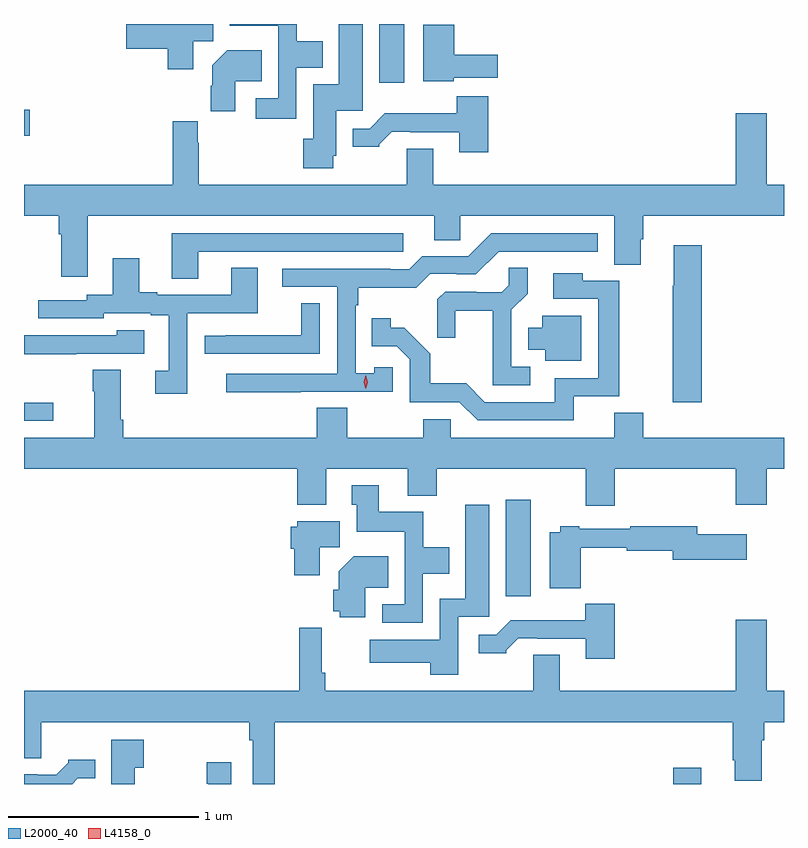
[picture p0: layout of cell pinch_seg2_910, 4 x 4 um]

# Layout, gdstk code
import gdstk
lib = gdstk.Library(unit=1e-6, precision=1e-09)
def R(c, l, rs):  # rectangles x0, y0, x1, y1
    for r in rs: c.add(gdstk.rectangle(r[:2], r[2:], *l))
def P(c, l, *ps):  # polygons
    for p in ps: c.add(gdstk.Polygon(p, *l))
L2000_40 = (2000, 40)
L4158_0 = (4158, 0)

pinch_seg2_910 = lib.new_cell('pinch_seg2_910')
R(pinch_seg2_910, L2000_40, [(596.247,655.302,596.395,655.387), (595.367,656.289,595.498,656.797), (592.831,657.213,592.984,657.309), (592.831,658.715,592.861,658.85), (594.701,658.992,594.832,659.302)])
P(pinch_seg2_910, L2000_40, [(594.264,659.072),(594.403,659.072),(594.403,659.212),(594.267,659.212),(594.267,659.302),(593.915,659.302),(593.915,659.294),(594.168,659.294),(594.168,658.911),(594.051,658.911),(594.051,658.803),(594.264,658.803)],
  [(594.459,658.608),(594.475,658.608),(594.475,658.845),(594.613,658.845),(594.613,659.302),(594.488,659.302),(594.488,658.984),(594.353,658.984),(594.353,658.698),(594.302,658.698),(594.302,658.542),(594.459,658.542)],
  [(593.722,659.212),(593.827,659.212),(593.827,659.302),(593.37,659.302),(593.37,659.171),(593.588,659.171),(593.588,659.064),(593.722,659.064)],
  [(595.092,659.018),(595.324,659.018),(595.324,659.14),(595.096,659.14),(595.096,659.299),(594.932,659.299),(594.932,659),(595.092,659)],
  [(593.944,659),(594.083,659),(594.083,659.164),(593.9,659.164),(593.822,659.086),(593.822,658.976),(593.813,658.976),(593.813,658.842),(593.944,658.842)],
  [(595.274,658.921),(595.109,658.921),(595.109,658.831),(594.73,658.831),(594.651,658.752),(594.56,658.752),(594.56,658.655),(594.702,658.655),(594.702,658.67),(594.766,658.734),(594.865,658.734),(594.865,658.731),(595.121,658.731),(595.121,658.626),(595.274,658.626)],
  [(593.167,658.292),(594.989,658.292),(594.989,658.165),(595.128,658.165),(595.128,658.292),(595.937,658.292),(595.937,658.036),(596.077,658.036),(596.077,658.17),(596.09,658.17),(596.09,658.292),(596.831,658.292),(596.831,658.456),(596.74,658.456),(596.74,658.831),(596.576,658.831),(596.576,658.456),(594.985,658.456),(594.985,658.646),(594.845,658.646),(594.845,658.456),(593.75,658.456),(593.75,658.676),(593.746,658.676),(593.746,658.789),(593.614,658.789),(593.614,658.456),(592.831,658.456),(592.831,658.292),(593.015,658.292),(593.015,658.196),(593.027,658.196),(593.027,657.972),(593.167,657.972)],
  [(593.749,658.104),(594.826,658.104),(594.826,658.2),(593.609,658.2),(593.609,657.961),(593.749,657.961)],
  [(594.287,657.366),(594.771,657.366),(594.771,657.495),(594.675,657.495),(594.675,657.463),(594.576,657.463),(594.576,657.821),(594.589,657.821),(594.589,657.914),(594.896,657.914),(594.969,657.987),(595.108,657.987),(595.108,657.984),(595.209,657.984),(595.329,658.104),(595.852,658.104),(595.852,658.2),(595.29,658.2),(595.17,658.08),(594.927,658.08),(594.858,658.011),(594.758,658.011),(594.758,658.014),(594.189,658.014),(594.189,657.918),(594.48,657.918),(594.48,657.462),(593.895,657.462),(593.895,657.364),(594.287,657.364)],
  [(596.399,658.138),(596.252,658.138),(596.252,657.925),(596.245,657.925),(596.245,657.312),(596.399,657.312)],
  [(593.691,657.78),(594.061,657.78),(594.061,658.019),(593.921,658.019),(593.921,657.876),(593.533,657.876),(593.533,657.889),(593.437,657.889),(593.437,658.069),(593.297,658.069),(593.297,657.876),(593.16,657.876),(593.16,657.849),(592.905,657.849),(592.905,657.753),(593.25,657.753),(593.25,657.78),(593.498,657.78),(593.498,657.768),(593.594,657.768),(593.594,657.477),(593.523,657.477),(593.523,657.357),(593.691,657.357)],
  [(595.495,657.498),(595.395,657.498),(595.395,657.797),(595.481,657.883),(595.481,658.019),(595.383,658.019),(595.383,657.928),(595.346,657.891),(595.212,657.891),(595.212,657.894),(595.047,657.894),(595.006,657.853),(595.006,657.651),(595.1,657.651),(595.1,657.794),(595.298,657.794),(595.298,657.402),(595.495,657.402)],
  [(595.724,657.342),(595.963,657.342),(595.963,657.951),(595.773,657.951),(595.773,657.991),(595.617,657.991),(595.617,657.855),(595.854,657.855),(595.854,657.438),(595.625,657.438),(595.625,657.312),(595.257,657.312),(595.159,657.411),(594.97,657.411),(594.97,657.566),(594.832,657.704),(594.762,657.704),(594.762,657.754),(594.661,657.754),(594.661,657.606),(594.792,657.606),(594.861,657.537),(594.861,657.312),(595.122,657.312),(595.218,657.216),(595.724,657.216)],
  [(594.387,657.833),(594.289,657.833),(594.289,657.663),(593.893,657.663),(593.893,657.662),(593.781,657.662),(593.781,657.567),(594.387,657.567)],
  [(595.765,657.766),(595.559,657.766),(595.559,657.703),(595.484,657.703),(595.484,657.587),(595.574,657.587),(595.574,657.53),(595.765,657.53)],
  [(593.105,657.567),(593.464,657.567),(593.464,657.691),(593.319,657.691),(593.319,657.663),(592.831,657.663),(592.831,657.565),(593.105,657.565)],
  [(592.831,656.96),(594.269,656.96),(594.269,656.771),(594.421,656.771),(594.421,656.96),(594.851,656.96),(594.851,656.819),(595.004,656.819),(595.004,656.96),(595.787,656.96),(595.787,656.766),(595.94,656.766),(595.94,656.96),(596.576,656.96),(596.576,656.772),(596.74,656.772),(596.74,656.96),(596.831,656.96),(596.831,657.124),(596.09,657.124),(596.09,657.257),(595.937,657.257),(595.937,657.124),(595.077,657.124),(595.077,657.222),(594.931,657.222),(594.931,657.124),(594.531,657.124),(594.531,657.281),(594.371,657.281),(594.371,657.124),(593.354,657.124),(593.354,657.22),(593.341,657.22),(593.341,657.481),(593.194,657.481),(593.194,657.368),(593.201,657.368),(593.201,657.124),(592.831,657.124)],
  [(594.93,656.408),(595.069,656.408),(595.069,656.548),(594.933,656.548),(594.933,656.734),(594.697,656.734),(594.697,656.875),(594.557,656.875),(594.557,656.772),(594.581,656.772),(594.581,656.63),(594.834,656.63),(594.834,656.247),(594.717,656.247),(594.717,656.151),(594.93,656.151)],
  [(595.116,656.181),(595.279,656.181),(595.279,656.773),(595.154,656.773),(595.154,656.278),(595.02,656.278),(595.02,656.062),(594.651,656.062),(594.651,655.94),(594.968,655.94),(594.968,655.878),(595.116,655.878)],
  [(594.388,656.548),(594.493,656.548),(594.493,656.686),(594.27,656.686),(594.27,656.655),(594.236,656.655),(594.236,656.541),(594.254,656.541),(594.254,656.4),(594.388,656.4)],
  [(595.76,656.545),(596.004,656.545),(596.004,656.53),(596.246,656.53),(596.246,656.483),(596.635,656.483),(596.635,656.617),(596.374,656.617),(596.374,656.659),(596.023,656.659),(596.023,656.646),(595.753,656.646),(595.753,656.659),(595.653,656.659),(595.653,656.626),(595.598,656.626),(595.598,656.333),(595.76,656.333)],
  [(594.628,656.336),(594.749,656.336),(594.749,656.5),(594.566,656.5),(594.488,656.422),(594.488,656.325),(594.458,656.325),(594.458,656.211),(594.492,656.211),(594.492,656.179),(594.628,656.179)],
  [(595.94,656.251),(595.785,656.251),(595.785,656.164),(595.393,656.164),(595.317,656.088),(595.224,656.088),(595.224,655.991),(595.368,655.991),(595.368,656.006),(595.432,656.07),(595.531,656.07),(595.531,656.067),(595.787,656.067),(595.787,655.962),(595.94,655.962)],
  [(594.152,655.628),(596.561,655.628),(596.561,655.426),(596.573,655.426),(596.573,655.319),(596.713,655.319),(596.713,655.532),(596.726,655.532),(596.726,655.628),(596.831,655.628),(596.831,655.792),(596.74,655.792),(596.74,656.167),(596.576,656.167),(596.576,655.792),(595.651,655.792),(595.651,655.982),(595.511,655.982),(595.511,655.792),(594.416,655.792),(594.416,655.888),(594.399,655.888),(594.399,656.125),(594.28,656.125),(594.28,655.792),(592.831,655.792),(592.831,655.438),(592.921,655.438),(592.921,655.628),(594.016,655.628),(594.016,655.532),(594.036,655.532),(594.036,655.302),(594.152,655.302)],
  [(593.413,655.387),(593.46,655.387),(593.46,655.534),(593.291,655.534),(593.291,655.302),(593.413,655.302)],
  [(593.115,655.332),(593.206,655.332),(593.206,655.429),(593.064,655.429),(593.064,655.414),(593,655.35),(592.901,655.35),(592.901,655.353),(592.831,655.353),(592.831,655.302),(593.085,655.302)],
  [(593.923,655.417),(593.794,655.417),(593.794,655.304),(593.801,655.304),(593.801,655.302),(593.923,655.302)])
P(pinch_seg2_910, L4158_0, [(594.629,657.381),(594.629,657.381),(594.619,657.417),(594.629,657.453),(594.629,657.453),(594.629,657.453),(594.639,657.417),(594.629,657.381)])

lib.write_gds('pinch_seg2_910.gds')
